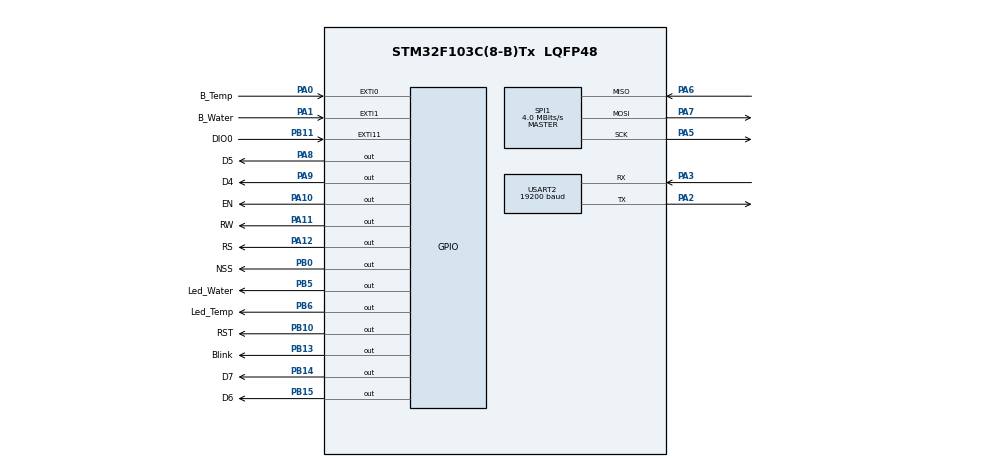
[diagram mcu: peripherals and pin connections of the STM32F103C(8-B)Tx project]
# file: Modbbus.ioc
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FREERTOS.BinarySemaphores01=myBinarySem01,Dynamic,NULL
FREERTOS.CountingSemaphores01=myCountingSem01,5,Dynamic,NULL
FREERTOS.Queues01=myQueueData,16,uint16_t,0,Dynamic,NULL,NULL
FREERTOS.Tasks01=defaultTask,24,1024,StartDefaultTask,Default,NULL,Dynamic,NULL,NULL
FREERTOS.configTOTAL_HEAP_SIZE=8196
FREERTOS.configUSE_NEWLIB_REENTRANT=1
Mcu.Family=STM32F1
Mcu.Name=STM32F103C(8-B)Tx
Mcu.Package=LQFP48
NVIC.EXTI0_IRQn=true\:7\:0\:true\:false\:true\:true\:true\:true\:true
NVIC.EXTI1_IRQn=true\:7\:0\:true\:false\:true\:true\:true\:true\:true
NVIC.PriorityGroup=NVIC_PRIORITYGROUP_4
NVIC.TIM2_IRQn=true\:5\:0\:false\:false\:true\:true\:true\:true\:true
NVIC.TIM4_IRQn=true\:15\:0\:false\:false\:true\:false\:false\:true\:true
NVIC.TimeBase=TIM4_IRQn
NVIC.TimeBaseIP=TIM4
NVIC.USART2_IRQn=true\:5\:0\:false\:false\:true\:true\:true\:true\:true
PA0-WKUP.GPIO_Label=B_Temp
PA0-WKUP.GPIO_ModeDefaultEXTI=GPIO_MODE_IT_FALLING
PA0-WKUP.Signal=GPXTI0
PA1.GPIO_Label=B_Water
PA1.GPIO_ModeDefaultEXTI=GPIO_MODE_IT_FALLING
PA1.Signal=GPXTI1
PA10.GPIO_Label=EN
PA10.Signal=GPIO_Output
PA11.GPIO_Label=RW
PA11.Signal=GPIO_Output
PA12.GPIO_Label=RS
PA12.Signal=GPIO_Output
PA13.Mode=Serial_Wire
PA13.Signal=SYS_JTMS-SWDIO
PA14.Mode=Serial_Wire
PA14.Signal=SYS_JTCK-SWCLK
PA2.Mode=Asynchronous
PA2.Signal=USART2_TX
PA3.Mode=Asynchronous
PA3.Signal=USART2_RX
PA5.Mode=Full_Duplex_Master
PA5.Signal=SPI1_SCK
PA6.Mode=Full_Duplex_Master
PA6.Signal=SPI1_MISO
PA7.Mode=Full_Duplex_Master
PA7.Signal=SPI1_MOSI
PA8.GPIO_Label=D5
PA8.Signal=GPIO_Output
PA9.GPIO_Label=D4
PA9.Signal=GPIO_Output
PB0.GPIO_Label=NSS
PB0.PinState=GPIO_PIN_SET
PB0.Signal=GPIO_Output
PB10.GPIO_Label=RST
PB10.PinState=GPIO_PIN_SET
PB10.Signal=GPIO_Output
PB11.GPIO_Label=DIO0
PB11.Signal=GPXTI11
PB13.GPIO_Label=Blink
PB13.Signal=GPIO_Output
PB14.GPIO_Label=D7
PB14.Signal=GPIO_Output
PB15.GPIO_Label=D6
PB15.Signal=GPIO_Output
PB5.GPIO_Label=Led_Water
PB5.Signal=GPIO_Output
PB6.GPIO_Label=Led_Temp
PB6.Signal=GPIO_Output
PC14-OSC32_IN.Mode=LSE-External-Oscillator
PC14-OSC32_IN.Signal=RCC_OSC32_IN
PC15-OSC32_OUT.Mode=LSE-External-Oscillator
PC15-OSC32_OUT.Signal=RCC_OSC32_OUT
PD0-OSC_IN.Mode=HSE-External-Oscillator
PD0-OSC_IN.Signal=RCC_OSC_IN
PD1-OSC_OUT.Mode=HSE-External-Oscillator
PD1-OSC_OUT.Signal=RCC_OSC_OUT
ProjectManager.HeapSize=0x200
ProjectManager.StackSize=0x400
ProjectManager.TargetToolchain=STM32CubeIDE
RCC.APB1Freq_Value=8000000
RCC.APB2Freq_Value=8000000
SPI1.CalculateBaudRate=4.0 MBits/s
SPI1.Direction=SPI_DIRECTION_2LINES
SPI1.Mode=SPI_MODE_MASTER
SPI1.VirtualType=VM_MASTER
TIM2.AutoReloadPreload=TIM_AUTORELOAD_PRELOAD_ENABLE
TIM2.Period=50000
TIM2.Prescaler=8000
USART2.BaudRate=19200
USART2.StopBits=STOPBITS_2
USART2.VirtualMode=VM_ASYNC
VP_FREERTOS_VS_CMSIS_V2.Mode=CMSIS_V2
VP_SYS_VS_tim4.Mode=TIM4
VP_TIM2_VS_ClockSourceINT.Mode=Internal
board=custom

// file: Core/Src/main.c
/* USER CODE BEGIN Header */
/**
  ******************************************************************************
  * @file           : main.c
  * @brief          : Main program body
  ******************************************************************************
  * @attention
  *
  * Copyright (c) 2023 STMicroelectronics.
  * All rights reserved.
  *
  * This software is licensed under terms that can be found in the LICENSE file
  * in the root directory of this software component.
  * If no LICENSE file comes with this software, it is provided AS-IS.
  *
  ******************************************************************************
  */
/* USER CODE END Header */
#include "main.h"
#include "cmsis_os.h"

/* USER CODE BEGIN Includes */
#include "task.h"
#include "queue.h"
#include "semphr.h"
#include "stdio.h"
#include "string.h"
#include "modbus.h"
#include "Lcd.h"
#include "Lora.h"

/* USER CODE END Includes */

/* USER CODE BEGIN PD */
#define MODBUS_RTU_MIN_LENGTH 7
#define MODBUS_RTU_MAX_LENGTH 32
/* USER CODE END PD */

SPI_HandleTypeDef hspi1;

TIM_HandleTypeDef htim2;

UART_HandleTypeDef huart2;

/* Definitions for defaultTask */
osThreadId_t defaultTaskHandle;
const osThreadAttr_t defaultTask_attributes = {
  .name = "defaultTask",
  .stack_size = 1024 * 4,
  .priority = (osPriority_t) osPriorityNormal,
};
/* Definitions for myQueueData */
osMessageQueueId_t myQueueDataHandle;
const osMessageQueueAttr_t myQueueData_attributes = {
  .name = "myQueueData"
};
/* Definitions for myBinarySem01 */
osSemaphoreId_t myBinarySem01Handle;
const osSemaphoreAttr_t myBinarySem01_attributes = {
  .name = "myBinarySem01"
};
/* Definitions for myCountingSem01 */
osSemaphoreId_t myCountingSem01Handle;
const osSemaphoreAttr_t myCountingSem01_attributes = {
  .name = "myCountingSem01"
};
/* USER CODE BEGIN PV */
static uint16_t Data_16[2];
static uint32_t Data_32;
static uint8_t buffer[9];
static uint8_t rxData,Error_T, Error_H,Error_Device;
static uint8_t rx_data[MODBUS_RTU_MAX_LENGTH];
static int rx_index = 0;
static uint16_t rx_length = 0;
static uint16_t Error_Stat, Error_Cod;
static float Temp, RH;
static int i = 0, a = 0;
static char LCD_Send[30];
static CLCD_Name LCD1;
static LoRa myLoRa;

/* USER CODE END PV */

void SystemClock_Config(void);
static void MX_GPIO_Init(void);
static void MX_SPI1_Init(void);
static void MX_USART2_UART_Init(void);
static void MX_TIM2_Init(void);
void StartDefaultTask(void *argument);

/* USER CODE BEGIN PFP */
void LoRa_Setup(void);
/* USER CODE END PFP */

/* USER CODE BEGIN 0 */
void HAL_UART_RxCpltCallback(UART_HandleTypeDef *huart)
{
	if(huart->Instance == huart2.Instance)
	{
		static BaseType_t xHigherPriorityTaskWoken;
		xHigherPriorityTaskWoken = pdFALSE;
		xQueueSendFromISR(myQueueDataHandle,&buffer,NULL);
		xSemaphoreGiveFromISR(myCountingSem01Handle,&xHigherPriorityTaskWoken);
		HAL_UART_Receive_IT(&huart2, buffer, 1);
	}
}
void HAL_GPIO_EXTI_Callback(uint16_t GPIO_Pin)
{
	if (GPIO_Pin == B_Temp_Pin)
	{
		 static uint32_t last_interrupt_time = 0;
		 uint32_t current_time = HAL_GetTick();
		 if ((current_time - last_interrupt_time) > 200)
		 {
			 a = 1;
			 Send_Error_Status();
			 HAL_GPIO_WritePin(GPIOB, Led_Temp_Pin, GPIO_PIN_SET);
//			 HAL_GPIO_TogglePin(GPIOB, Led_Temp_Pin);
		 }
		 last_interrupt_time = current_time;
	}
	else if (GPIO_Pin == B_Water_Pin)
	{
		static uint32_t last_interrupt_time = 0;
		uint32_t current_time = HAL_GetTick();
		if ((current_time - last_interrupt_time) > 200)
		{
			a = 1;
			Send_Error_Status();
			HAL_GPIO_WritePin(GPIOB, Led_Water_Pin, GPIO_PIN_SET);
//			HAL_GPIO_TogglePin(GPIOB, Led_Water_Pin);
		}
		last_interrupt_time = current_time;
	}
}

/* USER CODE END 0 */

int main(void)
{

  /* MCU Configuration--------------------------------------------------------*/

  /* Reset of all peripherals, Initializes the Flash interface and the Systick. */
  HAL_Init();

  /* Configure the system clock */
  SystemClock_Config();

  /* Initialize all configured peripherals */
  MX_GPIO_Init();
  MX_SPI1_Init();
  MX_USART2_UART_Init();
  MX_TIM2_Init();
  /* USER CODE BEGIN 2 */
  HAL_GPIO_WritePin(GPIOB, GPIO_PIN_13, GPIO_PIN_SET);
  CLCD_4BIT_Init(&LCD1, 16, 2, RS_GPIO_Port, RS_Pin, EN_GPIO_Port, EN_Pin,
    									D4_GPIO_Port, D4_Pin, D5_GPIO_Port, D5_Pin,
    									D6_GPIO_Port, D6_Pin, D7_GPIO_Port, D7_Pin);
  LoRa_Setup();
  LoRa_init(&myLoRa);
  LoRa_startReceiving(&myLoRa);
  HAL_UART_Receive_IT(&huart2, buffer, 1);
  HAL_TIM_Base_Start_IT(&htim2);

  /* USER CODE END 2 */

  /* Init scheduler */
  osKernelInitialize();

  /* Create the semaphores(s) */
  /* creation of myBinarySem01 */
  myBinarySem01Handle = osSemaphoreNew(1, 1, &myBinarySem01_attributes);

  /* creation of myCountingSem01 */
  myCountingSem01Handle = osSemaphoreNew(5, 5, &myCountingSem01_attributes);

  /* Create the queue(s) */
  /* creation of myQueueData */
  myQueueDataHandle = osMessageQueueNew (16, sizeof(uint16_t), &myQueueData_attributes);

  /* Create the thread(s) */
  /* creation of defaultTask */
  defaultTaskHandle = osThreadNew(StartDefaultTask, NULL, &defaultTask_attributes);

  /* Start scheduler */
  osKernelStart();

  /* We should never get here as control is now taken by the scheduler */
  /* Infinite loop */
  while (1)
  {

  }
}

void SystemClock_Config(void)
{
  RCC_OscInitTypeDef RCC_OscInitStruct = {0};
  RCC_ClkInitTypeDef RCC_ClkInitStruct = {0};

  /** Initializes the RCC Oscillators according to the specified parameters
  * in the RCC_OscInitTypeDef structure.
  */
  RCC_OscInitStruct.OscillatorType = RCC_OSCILLATORTYPE_HSI;
  RCC_OscInitStruct.HSIState = RCC_HSI_ON;
  RCC_OscInitStruct.HSICalibrationValue = RCC_HSICALIBRATION_DEFAULT;
  RCC_OscInitStruct.PLL.PLLState = RCC_PLL_NONE;
  if (HAL_RCC_OscConfig(&RCC_OscInitStruct) != HAL_OK)
  {
    Error_Handler();
  }

  /** Initializes the CPU, AHB and APB buses clocks
  */
  RCC_ClkInitStruct.ClockType = RCC_CLOCKTYPE_HCLK|RCC_CLOCKTYPE_SYSCLK
                              |RCC_CLOCKTYPE_PCLK1|RCC_CLOCKTYPE_PCLK2;
  RCC_ClkInitStruct.SYSCLKSource = RCC_SYSCLKSOURCE_HSI;
  RCC_ClkInitStruct.AHBCLKDivider = RCC_SYSCLK_DIV1;
  RCC_ClkInitStruct.APB1CLKDivider = RCC_HCLK_DIV1;
  RCC_ClkInitStruct.APB2CLKDivider = RCC_HCLK_DIV1;

  if (HAL_RCC_ClockConfig(&RCC_ClkInitStruct, FLASH_LATENCY_0) != HAL_OK)
  {
    Error_Handler();
  }
}

static void MX_SPI1_Init(void)
{

  /* SPI1 parameter configuration*/
  hspi1.Instance = SPI1;
  hspi1.Init.Mode = SPI_MODE_MASTER;
  hspi1.Init.Direction = SPI_DIRECTION_2LINES;
  hspi1.Init.DataSize = SPI_DATASIZE_8BIT;
  hspi1.Init.CLKPolarity = SPI_POLARITY_LOW;
  hspi1.Init.CLKPhase = SPI_PHASE_1EDGE;
  hspi1.Init.NSS = SPI_NSS_SOFT;
  hspi1.Init.BaudRatePrescaler = SPI_BAUDRATEPRESCALER_2;
  hspi1.Init.FirstBit = SPI_FIRSTBIT_MSB;
  hspi1.Init.TIMode = SPI_TIMODE_DISABLE;
  hspi1.Init.CRCCalculation = SPI_CRCCALCULATION_DISABLE;
  hspi1.Init.CRCPolynomial = 10;
  if (HAL_SPI_Init(&hspi1) != HAL_OK)
  {
    Error_Handler();
  }

}

static void MX_TIM2_Init(void)
{

  TIM_ClockConfigTypeDef sClockSourceConfig = {0};
  TIM_MasterConfigTypeDef sMasterConfig = {0};

  htim2.Instance = TIM2;
  htim2.Init.Prescaler = 8000;
  htim2.Init.CounterMode = TIM_COUNTERMODE_UP;
  htim2.Init.Period = 60000;
  htim2.Init.ClockDivision = TIM_CLOCKDIVISION_DIV1;
  htim2.Init.AutoReloadPreload = TIM_AUTORELOAD_PRELOAD_ENABLE;
  if (HAL_TIM_Base_Init(&htim2) != HAL_OK)
  {
    Error_Handler();
  }
  sClockSourceConfig.ClockSource = TIM_CLOCKSOURCE_INTERNAL;
  if (HAL_TIM_ConfigClockSource(&htim2, &sClockSourceConfig) != HAL_OK)
  {
    Error_Handler();
  }
  sMasterConfig.MasterOutputTrigger = TIM_TRGO_RESET;
  sMasterConfig.MasterSlaveMode = TIM_MASTERSLAVEMODE_DISABLE;
  if (HAL_TIMEx_MasterConfigSynchronization(&htim2, &sMasterConfig) != HAL_OK)
  {
    Error_Handler();
  }

}

static void MX_USART2_UART_Init(void)
{

  huart2.Instance = USART2;
  huart2.Init.BaudRate = 19200;
  huart2.Init.WordLength = UART_WORDLENGTH_8B;
  huart2.Init.StopBits = UART_STOPBITS_2;
  huart2.Init.Parity = UART_PARITY_NONE;
  huart2.Init.Mode = UART_MODE_TX_RX;
  huart2.Init.HwFlowCtl = UART_HWCONTROL_NONE;
  huart2.Init.OverSampling = UART_OVERSAMPLING_16;
  if (HAL_UART_Init(&huart2) != HAL_OK)
  {
    Error_Handler();
  }

}

static void MX_GPIO_Init(void)
{
  GPIO_InitTypeDef GPIO_InitStruct = {0};

  /* GPIO Ports Clock Enable */
  __HAL_RCC_GPIOC_CLK_ENABLE();
  __HAL_RCC_GPIOD_CLK_ENABLE();
  __HAL_RCC_GPIOA_CLK_ENABLE();
  __HAL_RCC_GPIOB_CLK_ENABLE();

  /*Configure GPIO pin Output Level */
  HAL_GPIO_WritePin(GPIOB, NSS_Pin|RST_Pin, GPIO_PIN_SET);

  /*Configure GPIO pin Output Level */
  HAL_GPIO_WritePin(GPIOB, Blink_Pin|D7_Pin|D6_Pin|Led_Water_Pin
                          |Led_Temp_Pin, GPIO_PIN_RESET);

  /*Configure GPIO pin Output Level */
  HAL_GPIO_WritePin(GPIOA, D5_Pin|D4_Pin|EN_Pin|RW_Pin
                          |RS_Pin, GPIO_PIN_RESET);

  /*Configure GPIO pins : B_Temp_Pin B_Water_Pin */
  GPIO_InitStruct.Pin = B_Temp_Pin|B_Water_Pin;
  GPIO_InitStruct.Mode = GPIO_MODE_IT_FALLING;
  GPIO_InitStruct.Pull = GPIO_NOPULL;
  HAL_GPIO_Init(GPIOA, &GPIO_InitStruct);

  /*Configure GPIO pins : NSS_Pin RST_Pin Blink_Pin D7_Pin
                           D6_Pin Led_Water_Pin Led_Temp_Pin */
  GPIO_InitStruct.Pin = NSS_Pin|RST_Pin|Blink_Pin|D7_Pin
                          |D6_Pin|Led_Water_Pin|Led_Temp_Pin;
  GPIO_InitStruct.Mode = GPIO_MODE_OUTPUT_PP;
  GPIO_InitStruct.Pull = GPIO_NOPULL;
  GPIO_InitStruct.Speed = GPIO_SPEED_FREQ_LOW;
  HAL_GPIO_Init(GPIOB, &GPIO_InitStruct);

  /*Configure GPIO pin : DIO0_Pin */
  GPIO_InitStruct.Pin = DIO0_Pin;
  GPIO_InitStruct.Mode = GPIO_MODE_IT_RISING;
  GPIO_InitStruct.Pull = GPIO_NOPULL;
  HAL_GPIO_Init(DIO0_GPIO_Port, &GPIO_InitStruct);

  /*Configure GPIO pins : D5_Pin D4_Pin EN_Pin RW_Pin
                           RS_Pin */
  GPIO_InitStruct.Pin = D5_Pin|D4_Pin|EN_Pin|RW_Pin
                          |RS_Pin;
  GPIO_InitStruct.Mode = GPIO_MODE_OUTPUT_PP;
  GPIO_InitStruct.Pull = GPIO_NOPULL;
  GPIO_InitStruct.Speed = GPIO_SPEED_FREQ_LOW;
  HAL_GPIO_Init(GPIOA, &GPIO_InitStruct);

  /* EXTI interrupt init*/
  HAL_NVIC_SetPriority(EXTI0_IRQn, 7, 0);
  HAL_NVIC_EnableIRQ(EXTI0_IRQn);

  HAL_NVIC_SetPriority(EXTI1_IRQn, 7, 0);
  HAL_NVIC_EnableIRQ(EXTI1_IRQn);

}

/* USER CODE BEGIN 4 */
void Process_Modbus(void)
{
	static uint8_t LoRa_TxBuffer[10];
	switch(i)
	{
	case 0:
		Error_Stat = Receive_Error_Status(Data_16[0]);
		if (Error_Stat == Have_Errors)
		{
			osDelay(100);
			Send_Error_Code();
			i = 1;
		}
		else // Read Temp
		{
//			CLCD_SetCursor(&LCD1, 0, 0);
//			CLCD_WriteString(&LCD1,"No Errors");
			osDelay(100);
			memset(rx_data, 0, sizeof(rx_data));
			Read_Temp();
			i = 2;
		}
		break;

	// Check Error code
	case 1:
		Error_Cod = Receive_Error_Code(Data_16[0]);
		// Display error
		if (Error_Cod == Temp_Measur_Err)
		{
			CLCD_SetCursor(&LCD1, 0, 0);
			CLCD_WriteString(&LCD1,"Temp Measure Err");
			osDelay(2000);
			LoRa_TxBuffer[0] = 0x01;
			LoRa_TxBuffer[1] = 0x01; // Error
			LoRa_TxBuffer[2] = 0x01; // Temp Measure Err
			LoRa_transmit(&myLoRa, LoRa_TxBuffer, 3, 1000);
			memset(LoRa_TxBuffer, 0, sizeof(LoRa_TxBuffer));
			memset(rx_data, 0, sizeof(rx_data));
			Send_Error_Temp();
			i = 3;
			}
		else if (Error_Cod == Hum_Measur_Err)
		{
			CLCD_SetCursor(&LCD1, 0, 0);
			CLCD_WriteString(&LCD1,"Humi Measure Err");
			osDelay(2000);
			LoRa_TxBuffer[0] = 0x01;
			LoRa_TxBuffer[1] = 0x01; // Error
			LoRa_TxBuffer[2] = 0x02; // Humi Measure Err
			LoRa_transmit(&myLoRa, LoRa_TxBuffer, 3, 1000);
			memset(LoRa_TxBuffer, 0, sizeof(LoRa_TxBuffer));
			memset(rx_data, 0, sizeof(rx_data));
			Send_Error_RH();
			i = 4;
		}
		else if (Error_Cod == Humi_Sen_Fail)
		{
			CLCD_SetCursor(&LCD1, 0, 0);
			CLCD_WriteString(&LCD1,"Humi Sensor Fail ");
			osDelay(2000);
			LoRa_TxBuffer[0] = 0x01;
			LoRa_TxBuffer[1] = 0x01; // Error
			LoRa_TxBuffer[2] = 0x03; // Humi Sensor Fail
			LoRa_transmit(&myLoRa, LoRa_TxBuffer, 3, 1000);
			memset(LoRa_TxBuffer, 0, sizeof(LoRa_TxBuffer));
			memset(rx_data, 0, sizeof(rx_data));
			Send_Error_Device();
			i = 5;
		}
		break;

	// Read Temp
	case 2:
		LoRa_TxBuffer[0] = 0x01;
		LoRa_TxBuffer[1] = 0x02; // Temp
		LoRa_TxBuffer[2] = rx_data[3];
		LoRa_TxBuffer[3] = rx_data[4];
		LoRa_TxBuffer[4] = rx_data[5];
		LoRa_TxBuffer[5] = rx_data[6];
//		LoRa_transmit(&myLoRa, LoRa_TxBuffer, 6, 1000);
//		memset(LoRa_TxBuffer, 0, sizeof(LoRa_TxBuffer));
		Temp = unpack754_32(Data_32);
		sprintf(LCD_Send,"Temp: %.2f oC",Temp );
		CLCD_SetCursor(&LCD1, 0, 0);
		CLCD_WriteString(&LCD1, LCD_Send);
		osDelay(1000);
		memset(rx_data, 0, sizeof(rx_data));
		Temp = 0;
		Read_Water();
		i = 6;
		break;

	// Read Error Temperature measurement
	case 3:
		Error_T = Receive_Error_Temp(Data_16[0]);
		// Display error
		LoRa_TxBuffer[0] = 0x01;
		LoRa_TxBuffer[1] = 0x01; // Error
		LoRa_TxBuffer[2] = 0x01; // Temp Measure Err
		LoRa_TxBuffer[3] = Error_T;
		LoRa_transmit(&myLoRa, LoRa_TxBuffer, 4, 1000);
		memset(LoRa_TxBuffer, 0, sizeof(LoRa_TxBuffer));
		memset(rx_data, 0, sizeof(rx_data));
		break;

	// Read Error RH measurement
	case 4:
		Error_H = Receive_Error_RH(Data_16[0]);
		// Display error
		LoRa_TxBuffer[0] = 0x01;
		LoRa_TxBuffer[1] = 0x01; // Error
		LoRa_TxBuffer[2] = 0x02; // RH Measure Err
		LoRa_TxBuffer[3] = Error_H;
		LoRa_transmit(&myLoRa, LoRa_TxBuffer, 4, 1000);
		memset(LoRa_TxBuffer, 0, sizeof(LoRa_TxBuffer));
		memset(rx_data, 0, sizeof(rx_data));
		break;

	// Read error device
	case 5:
		Error_Device = Receive_Error_Device(Data_16[0]);
		// Display error
		LoRa_TxBuffer[0] = 0x01;
		LoRa_TxBuffer[1] = 0x01; // Error
		LoRa_TxBuffer[2] = 0x02; // RH Measure Err
		LoRa_TxBuffer[3] = Error_Device;
		LoRa_transmit(&myLoRa, LoRa_TxBuffer, 4, 1000);
		memset(LoRa_TxBuffer, 0, sizeof(LoRa_TxBuffer));
		memset(rx_data, 0, sizeof(rx_data));
		break;

	// Read RH
	case 6:
//		LoRa_TxBuffer[0] = 0x02;
//		LoRa_TxBuffer[1] = 0x03; // Water
		LoRa_TxBuffer[6] = rx_data[3];
		LoRa_TxBuffer[7] = rx_data[4];
		LoRa_TxBuffer[8] = rx_data[5];
		LoRa_TxBuffer[9] = rx_data[6];
		LoRa_transmit(&myLoRa, LoRa_TxBuffer, 10, 1000);
		memset(LoRa_TxBuffer, 0, sizeof(LoRa_TxBuffer));
		RH =  unpack754_32(Data_32);
		sprintf(LCD_Send,"Water: %.2f ppm",RH );
		CLCD_SetCursor(&LCD1, 0, 1);
		CLCD_WriteString(&LCD1, LCD_Send);
		HAL_Delay(5000);
//		CLCD_Clear(&LCD1);
		HAL_GPIO_WritePin(GPIOB, Led_Water_Pin|Led_Temp_Pin, GPIO_PIN_RESET);
		RH = 0;
		memset(rx_data, 0, sizeof(rx_data));
		i = 0;
	}
}

void LoRa_Setup(void)
{
	  myLoRa.CS_port         = NSS_GPIO_Port;
	  myLoRa.CS_pin          = NSS_Pin;
	  myLoRa.reset_port      = RST_GPIO_Port;
	  myLoRa.reset_pin       = RST_Pin;
	  myLoRa.DIO0_port       = DIO0_GPIO_Port;
	  myLoRa.DIO0_pin        = DIO0_Pin;
	  myLoRa.hSPIx           = &hspi1;
	  myLoRa.frequency             = 433       ;
	  myLoRa.spredingFactor        = SF_7      ;
	  myLoRa.bandWidth			   = BW_125KHz ;
	  myLoRa.crcRate               = CR_4_5    ;
	  myLoRa.power				   = POWER_20db;
	  myLoRa.overCurrentProtection = 100       ;
	  myLoRa.preamble			   = 8         ;
}

/* USER CODE END 4 */

void StartDefaultTask(void *argument)
{
  /* USER CODE BEGIN 5 */
  /* Infinite loop */
	while(xSemaphoreTake(myCountingSem01Handle,portMAX_DELAY))
		{
			if (xQueueReceive(myQueueDataHandle, &rxData, portMAX_DELAY))
			{
				rx_data[rx_index++] = rxData;
				rx_length++;
				if (rx_length >= 7 && checkcrc16(rx_data, rx_index) == 1)
				{
					Data_16[0] = rx_data[3]<<8 | rx_data[4];
					Data_16[1] = rx_data[5]<<8 | rx_data[6];
					Data_32 = Data_16[1]<<16 | Data_16[0];
					Process_Modbus();
					rx_index = 0;
					rx_length = 0;
				}
			}
		}
  /* USER CODE END 5 */
}

void HAL_TIM_PeriodElapsedCallback(TIM_HandleTypeDef *htim)
{
  if (htim->Instance == TIM4) {
    HAL_IncTick();
  }
  /* USER CODE BEGIN Callback 1 */
  if (htim->Instance == TIM2) {
    Send_Error_Status();
  }

  /* USER CODE END Callback 1 */
}

void Error_Handler(void)
{
  __disable_irq();
  while (1)
  {
  }
}
